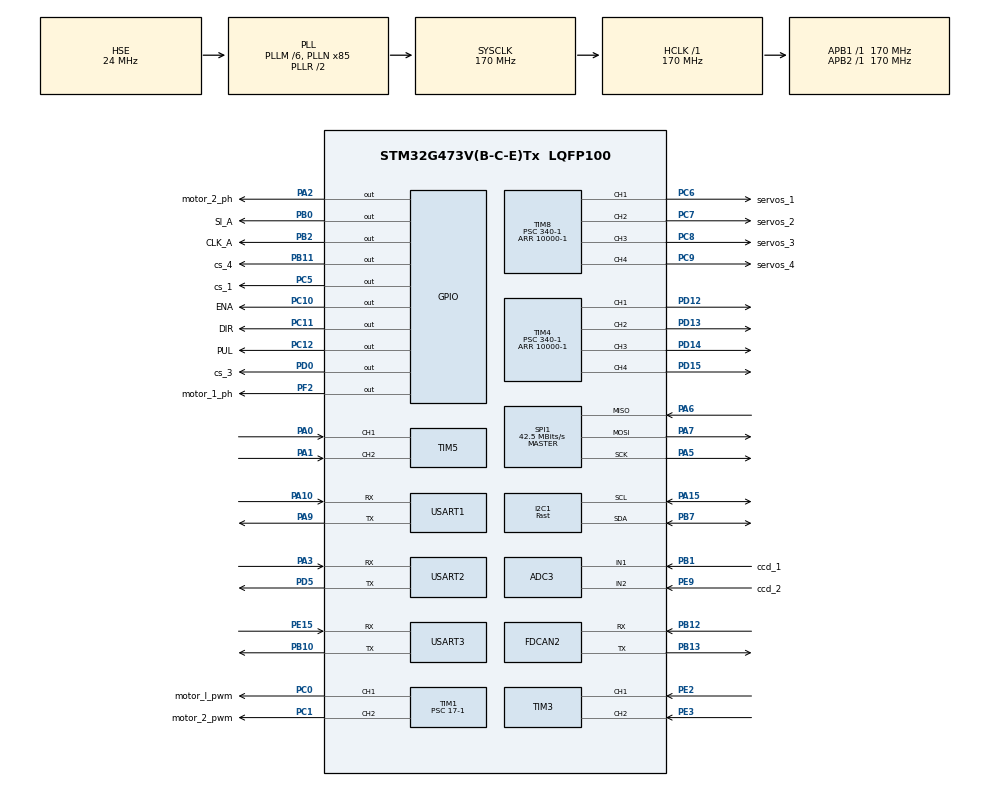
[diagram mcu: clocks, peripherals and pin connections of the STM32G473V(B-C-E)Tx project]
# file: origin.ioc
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ADC3.Channel-1\#ChannelRegularConversion=ADC_CHANNEL_1
ADC3.NbrOfConversionFlag=1
ADC3.OffsetNumber-1\#ChannelRegularConversion=ADC_OFFSET_NONE
ADC3.Rank-1\#ChannelRegularConversion=1
ADC3.SamplingTime-1\#ChannelRegularConversion=ADC_SAMPLETIME_2CYCLES_5
ADC3.master=1
Dma.ADC3.0.Direction=DMA_PERIPH_TO_MEMORY
Dma.ADC3.0.EventEnable=DISABLE
Dma.ADC3.0.Instance=DMA1_Channel1
Dma.ADC3.0.MemDataAlignment=DMA_MDATAALIGN_HALFWORD
Dma.ADC3.0.MemInc=DMA_MINC_ENABLE
Dma.ADC3.0.Mode=DMA_NORMAL
Dma.ADC3.0.PeriphDataAlignment=DMA_PDATAALIGN_HALFWORD
Dma.ADC3.0.PeriphInc=DMA_PINC_DISABLE
Dma.ADC3.0.Polarity=HAL_DMAMUX_REQ_GEN_RISING
Dma.ADC3.0.Priority=DMA_PRIORITY_LOW
Dma.ADC3.0.RequestNumber=1
Dma.ADC3.0.SignalID=NONE
Dma.ADC3.0.SyncEnable=DISABLE
Dma.ADC3.0.SyncPolarity=HAL_DMAMUX_SYNC_NO_EVENT
Dma.ADC3.0.SyncRequestNumber=1
Dma.ADC3.0.SyncSignalID=NONE
Dma.Request0=ADC3
FDCAN2.CalculateBaudRateNominal=3541666
FDCAN2.CalculateTimeBitNominal=282
FDCAN2.CalculateTimeQuantumNominal=94.11764705882354
I2C1.I2C_Speed_Mode=I2C_Fast
I2C1.Timing=0x40621236
Mcu.Family=STM32G4
Mcu.Name=STM32G473V(B-C-E)Tx
Mcu.Package=LQFP100
NVIC.DMA1_Channel1_IRQn=true\:0\:0\:false\:false\:true\:false\:true\:true
NVIC.PriorityGroup=NVIC_PRIORITYGROUP_4
NVIC.TIM2_IRQn=true\:0\:0\:false\:false\:true\:true\:true\:true
NVIC.TIM6_DAC_IRQn=true\:0\:0\:false\:false\:true\:true\:true\:true
NVIC.USART3_IRQn=true\:0\:0\:false\:false\:true\:true\:true\:true
PA0.Signal=S_TIM5_CH1
PA1.Signal=S_TIM5_CH2
PA10.Mode=Asynchronous
PA10.Signal=USART1_RX
PA11.Signal=FDCAN1_RX
PA12.Signal=FDCAN1_TX
PA13.Mode=Serial_Wire
PA13.Signal=SYS_JTMS-SWDIO
PA14.Mode=Serial_Wire
PA14.Signal=SYS_JTCK-SWCLK
PA15.GPIO_Pu=GPIO_NOPULL
PA15.GPIO_Speed=GPIO_SPEED_FREQ_HIGH
PA15.Mode=I2C
PA15.Signal=I2C1_SCL
PA2.GPIO_Label=motor_2_ph
PA2.Signal=GPIO_Output
PA3.Mode=Asynchronous
PA3.Signal=USART2_RX
PA4.Signal=I2S3_WS
PA5.Mode=Full_Duplex_Master
PA5.Signal=SPI1_SCK
PA6.Mode=Full_Duplex_Master
PA6.Signal=SPI1_MISO
PA7.Mode=Full_Duplex_Master
PA7.Signal=SPI1_MOSI
PA8.Signal=I2C2_SDA
PA9.Mode=Asynchronous
PA9.Signal=USART1_TX
PB0.GPIO_Label=SI_A
PB0.GPIO_Speed=GPIO_SPEED_FREQ_VERY_HIGH
PB0.Signal=GPIO_Output
PB1.GPIO_Label=ccd_1
PB1.Mode=IN1-Single-Ended
PB1.Signal=ADC3_IN1
PB10.Mode=Asynchronous
PB10.Signal=USART3_TX
PB11.GPIO_Label=cs_4
PB11.Signal=GPIO_Output
PB12.Mode=FDCAN_Activate
PB12.Signal=FDCAN2_RX
PB13.Mode=FDCAN_Activate
PB13.Signal=FDCAN2_TX
PB2.GPIO_Label=CLK_A
PB2.Signal=GPIO_Output
PB3.Signal=I2S3_CK
PB5.Signal=I2S3_SD
PB6.Signal=SAI1_FS_B
PB7.GPIO_FM7=SYSCFG_FASTMODEPLUS_PB7
PB7.GPIO_Speed=GPIO_SPEED_FREQ_HIGH
PB7.Mode=I2C
PB7.Signal=I2C1_SDA
PC0.GPIO_Label=motor_l_pwm
PC0.Signal=S_TIM1_CH1
PC1.GPIO_Label=motor_2_pwm
PC1.Signal=S_TIM1_CH2
PC10.GPIO_Label=ENA
PC10.Signal=GPIO_Output
PC11.GPIO_Label=DIR
PC11.Signal=GPIO_Output
PC12.GPIO_Label=PUL
PC12.Signal=GPIO_Output
PC2.Signal=S_TIM1_CH3
PC3.Signal=S_TIM1_CH4
PC4.Signal=I2C2_SCL
PC5.GPIO_Label=cs_1
PC5.Signal=GPIO_Output
PC6.GPIO_Label=servos_1
PC6.Signal=S_TIM8_CH1
PC7.GPIO_Label=servos_2
PC7.Signal=S_TIM8_CH2
PC8.GPIO_Label=servos_3
PC8.Signal=S_TIM8_CH3
PC9.GPIO_Label=servos_4
PC9.Signal=S_TIM8_CH4
PD0.GPIO_Label=cs_3
PD0.Signal=GPIO_Output
PD12.Signal=S_TIM4_CH1
PD13.Signal=S_TIM4_CH2
PD14.Signal=S_TIM4_CH3
PD15.Signal=S_TIM4_CH4
PD5.Mode=Asynchronous
PD5.Signal=USART2_TX
PE10.Signal=ADC4_IN14
PE11.Signal=ADC4_IN15
PE12.Signal=SPI4_SCK
PE13.Signal=SPI4_MISO
PE14.Signal=SPI4_MOSI
PE15.Mode=Asynchronous
PE15.Signal=USART3_RX
PE2.Signal=S_TIM3_CH1
PE3.Signal=S_TIM3_CH2
PE4.Signal=SAI1_FS_A
PE5.Signal=SAI1_SCK_A
PE6.Signal=SAI1_SD_A
PE7.Signal=SAI1_SD_B
PE8.Signal=SAI1_SCK_B
PE9.GPIO_Label=ccd_2
PE9.Mode=IN2-Single-Ended
PE9.Signal=ADC3_IN2
PF0-OSC_IN.Mode=HSE-External-Oscillator
PF0-OSC_IN.Signal=RCC_OSC_IN
PF1-OSC_OUT.Mode=HSE-External-Oscillator
PF1-OSC_OUT.Signal=RCC_OSC_OUT
PF2.GPIO_Label=motor_1_ph
PF2.GPIO_Speed=GPIO_SPEED_FREQ_HIGH
PF2.Signal=GPIO_Output
ProjectManager.HeapSize=0x200
ProjectManager.StackSize=0x400
ProjectManager.TargetToolchain=MDK-ARM V5.32
RCC.ADC12Freq_Value=170000000
RCC.ADC345Freq_Value=170000000
RCC.AHBFreq_Value=170000000
RCC.APB1Freq_Value=170000000
RCC.APB1TimFreq_Value=170000000
RCC.APB2Freq_Value=170000000
RCC.APB2TimFreq_Value=170000000
RCC.CortexFreq_Value=170000000
RCC.EXTERNAL_CLOCK_VALUE=12288000
RCC.HCLKFreq_Value=170000000
RCC.HSE_VALUE=24000000
RCC.HSI48_VALUE=48000000
RCC.HSI_VALUE=16000000
RCC.LSE_VALUE=32768
RCC.PLLM=RCC_PLLM_DIV6
RCC.PLLN=85
RCC.PLLSourceVirtual=RCC_PLLSOURCE_HSE
RCC.SYSCLKFreq_VALUE=170000000
RCC.SYSCLKSource=RCC_SYSCLKSOURCE_PLLCLK
RCC.USBFreq_Value=170000000
RCC.VCOOutputFreq_Value=340000000
SH.S_TIM1_CH1.0=TIM1_CH1,PWM Generation1 CH1
SH.S_TIM1_CH2.0=TIM1_CH2,PWM Generation2 CH2
SH.S_TIM1_CH3.0=TIM1_CH3
SH.S_TIM1_CH4.0=TIM1_CH4
SH.S_TIM3_CH1.0=TIM3_CH1,Encoder_Interface
SH.S_TIM3_CH2.0=TIM3_CH2,Encoder_Interface
SH.S_TIM4_CH1.0=TIM4_CH1,PWM Generation1 CH1
SH.S_TIM4_CH2.0=TIM4_CH2,PWM Generation2 CH2
SH.S_TIM4_CH3.0=TIM4_CH3,PWM Generation3 CH3
SH.S_TIM4_CH4.0=TIM4_CH4,PWM Generation4 CH4
SH.S_TIM5_CH1.0=TIM5_CH1,Encoder_Interface
SH.S_TIM5_CH2.0=TIM5_CH2,Encoder_Interface
SH.S_TIM8_CH1.0=TIM8_CH1,PWM Generation1 CH1
SH.S_TIM8_CH2.0=TIM8_CH2,PWM Generation2 CH2
SH.S_TIM8_CH3.0=TIM8_CH3,PWM Generation3 CH3
SH.S_TIM8_CH4.0=TIM8_CH4,PWM Generation4 CH4
SPI1.BaudRatePrescaler=SPI_BAUDRATEPRESCALER_4
SPI1.CalculateBaudRate=42.5 MBits/s
SPI1.Direction=SPI_DIRECTION_2LINES
SPI1.Mode=SPI_MODE_MASTER
SPI1.VirtualType=VM_MASTER
TIM1.AutoReloadPreload=TIM_AUTORELOAD_PRELOAD_ENABLE
TIM1.Channel-PWM\ Generation1\ CH1=TIM_CHANNEL_1
TIM1.Channel-PWM\ Generation2\ CH2=TIM_CHANNEL_2
TIM1.PeriodNoDither=1000-1
TIM1.Prescaler=17-1
TIM2.AutoReloadPreload=TIM_AUTORELOAD_PRELOAD_ENABLE
TIM2.PeriodNoDither=5000-1
TIM2.Prescaler=170-1
TIM4.Channel-PWM\ Generation1\ CH1=TIM_CHANNEL_1
TIM4.Channel-PWM\ Generation2\ CH2=TIM_CHANNEL_2
TIM4.Channel-PWM\ Generation3\ CH3=TIM_CHANNEL_3
TIM4.Channel-PWM\ Generation4\ CH4=TIM_CHANNEL_4
TIM4.PeriodNoDither=10000-1
TIM4.Prescaler=340-1
TIM6.PeriodNoDither=17000-1
TIM6.Prescaler=50-1
TIM8.Channel-PWM\ Generation1\ CH1=TIM_CHANNEL_1
TIM8.Channel-PWM\ Generation2\ CH2=TIM_CHANNEL_2
TIM8.Channel-PWM\ Generation3\ CH3=TIM_CHANNEL_3
TIM8.Channel-PWM\ Generation4\ CH4=TIM_CHANNEL_4
TIM8.PeriodNoDither=10000-1
TIM8.Prescaler=340-1
USART1.VirtualMode-Asynchronous=VM_ASYNC
USART2.VirtualMode-Asynchronous=VM_ASYNC
USART3.VirtualMode-Asynchronous=VM_ASYNC
VP_SYS_VS_DBSignals.Mode=DisableDeadBatterySignals
VP_TIM1_VS_ClockSourceINT.Mode=Internal
VP_TIM2_VS_ClockSourceINT.Mode=Internal
VP_TIM4_VS_ClockSourceINT.Mode=Internal
VP_TIM6_VS_ClockSourceINT.Mode=Enable_Timer
VP_TIM8_VS_ClockSourceINT.Mode=Internal
board=custom

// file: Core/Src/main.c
/* USER CODE BEGIN Header */
/**
  ******************************************************************************
  * @file           : main.c
  * @brief          : Main program body
  ******************************************************************************
  * @attention
  *
  * Copyright (c) 2025 STMicroelectronics.
  * All rights reserved.
  *
  * This software is licensed under terms that can be found in the LICENSE file
  * in the root directory of this software component.
  * If no LICENSE file comes with this software, it is provided AS-IS.
  *
  ******************************************************************************
  */
/* USER CODE END Header */
#include "main.h"
#include "adc.h"
#include "dma.h"
#include "fdcan.h"
#include "i2c.h"
#include "spi.h"
#include "tim.h"
#include "usart.h"
#include "gpio.h"

/* USER CODE BEGIN PV */
uint16_t ccd_rawdata[1546]; // 储存CCD接收的原始数
uint16_t ccd_data[128];     // 储存平均后的CCD数据
	 uint32_t icg_flag;

	 uint8_t  ir_x[8] ;
/* USER CODE END PV */

void SystemClock_Config(void);

/* USER CODE BEGIN 0 */
 void delay_us(uint32_t us)
{
    uint32_t delay = (HAL_RCC_GetHCLKFreq() / 4000000 * us);
    while (delay--)
    {
        __NOP(); //防止编译器优化
    }
}

 void HAL_TIM_PeriodElapsedCallback(TIM_HandleTypeDef *htim)
{
  if (htim->Instance == htim6.Instance)
    {

    }

}
/* USER CODE END 0 */

int main(void)
{

  /* MCU Configuration--------------------------------------------------------*/

  /* Reset of all peripherals, Initializes the Flash interface and the Systick. */
  HAL_Init();

  /* Configure the system clock */
  SystemClock_Config();

  /* Initialize all configured peripherals */
  MX_GPIO_Init();
  MX_DMA_Init();
  MX_TIM1_Init();
  MX_USART1_UART_Init();
  MX_USART3_UART_Init();
  MX_TIM2_Init();
  MX_TIM3_Init();
  MX_TIM5_Init();
  MX_SPI1_Init();
  MX_TIM8_Init();
  MX_TIM4_Init();
  MX_USART2_UART_Init();
  MX_I2C1_Init();
  MX_ADC3_Init();
  MX_TIM6_Init();
  MX_FDCAN2_Init();
  /* USER CODE BEGIN 2 */
	//tim1是给两个普通直流电机的，tim3是编码器1，tim5是编码器2，tim2只用于普通定时（利用中断）
	//tim6是给ccd用，tim8和tim4是用于输出pwm  配置：340-1，10000-1
//  中断开启
HAL_TIM_Base_Start_IT(&htim2);
HAL_TIM_Base_Start_IT(&htim6);
//
HAL_TIM_PWM_Start(&htim1,TIM_CHANNEL_1);
HAL_TIM_PWM_Start(&htim1,TIM_CHANNEL_2);
HAL_TIM_Encoder_Start(&htim3,TIM_CHANNEL_ALL);
HAL_TIM_Encoder_Start(&htim5,TIM_CHANNEL_ALL);
//舵机
 HAL_TIM_PWM_Start(&htim8,TIM_CHANNEL_4);
HAL_TIM_PWM_Start(&htim8,TIM_CHANNEL_3);
 HAL_TIM_PWM_Start(&htim8,TIM_CHANNEL_2);
HAL_TIM_PWM_Start(&htim8,TIM_CHANNEL_1);
 HAL_TIM_PWM_Start(&htim4,TIM_CHANNEL_4);
HAL_TIM_PWM_Start(&htim4,TIM_CHANNEL_3);
 HAL_TIM_PWM_Start(&htim4,TIM_CHANNEL_2);
HAL_TIM_PWM_Start(&htim4,TIM_CHANNEL_1);
//灰度配置
//  set_adjust_mode(1);
//  HAL_Delay(500);
//
//  set_adjust_mode(0);
//  HAL_Delay(500);

 //tcs230配置
  HAL_UART_Receive_IT(&huart3, &RxData, 1);

  printf("AT+LIGHT+ON\r\n");
  printf("AT+LIGHT+ON\r\n");
  printf("AT+LIGHT+ON\r\n");
  printf("AT+LIGHT+ON\r\n");
  printf("AT+LIGHT+ON\r\n");
  printf("AT+LIGHT+ON\r\n");
	//普通电机配置
	   speed_left = 0;
  speed_right = 0;
  speed_all = 0;

	PID_struct_init(&pid_left, POSITION_PID, 950, 950, 50, 0, 0);
  PID_struct_init(&pid_right, POSITION_PID, 950, 950, 50, 0, 0);

  set_adjust_mode(1);
  HAL_Delay(500);

  set_adjust_mode(0);
  HAL_Delay(500);

  /* USER CODE END 2 */

  /* Infinite loop */
  while (1)
  {

    /* USER CODE BEGIN 3 */
		__HAL_TIM_SET_COMPARE(&htim4,TIM_CHANNEL_1,500);
//		deal_IRdata(&ir_x[0],&ir_x[1],&ir_x[2],&ir_x[3],&ir_x[4],&ir_x[5],&ir_x[6],&ir_x[7]);
		  HAL_Delay(300);
  }
  /* USER CODE END 3 */
}

void SystemClock_Config(void)
{
  RCC_OscInitTypeDef RCC_OscInitStruct = {0};
  RCC_ClkInitTypeDef RCC_ClkInitStruct = {0};

  /** Configure the main internal regulator output voltage
  */
  HAL_PWREx_ControlVoltageScaling(PWR_REGULATOR_VOLTAGE_SCALE1_BOOST);

  /** Initializes the RCC Oscillators according to the specified parameters
  * in the RCC_OscInitTypeDef structure.
  */
  RCC_OscInitStruct.OscillatorType = RCC_OSCILLATORTYPE_HSE;
  RCC_OscInitStruct.HSEState = RCC_HSE_ON;
  RCC_OscInitStruct.PLL.PLLState = RCC_PLL_ON;
  RCC_OscInitStruct.PLL.PLLSource = RCC_PLLSOURCE_HSE;
  RCC_OscInitStruct.PLL.PLLM = RCC_PLLM_DIV6;
  RCC_OscInitStruct.PLL.PLLN = 85;
  RCC_OscInitStruct.PLL.PLLP = RCC_PLLP_DIV2;
  RCC_OscInitStruct.PLL.PLLQ = RCC_PLLQ_DIV2;
  RCC_OscInitStruct.PLL.PLLR = RCC_PLLR_DIV2;
  if (HAL_RCC_OscConfig(&RCC_OscInitStruct) != HAL_OK)
  {
    Error_Handler();
  }

  /** Initializes the CPU, AHB and APB buses clocks
  */
  RCC_ClkInitStruct.ClockType = RCC_CLOCKTYPE_HCLK|RCC_CLOCKTYPE_SYSCLK
                              |RCC_CLOCKTYPE_PCLK1|RCC_CLOCKTYPE_PCLK2;
  RCC_ClkInitStruct.SYSCLKSource = RCC_SYSCLKSOURCE_PLLCLK;
  RCC_ClkInitStruct.AHBCLKDivider = RCC_SYSCLK_DIV1;
  RCC_ClkInitStruct.APB1CLKDivider = RCC_HCLK_DIV1;
  RCC_ClkInitStruct.APB2CLKDivider = RCC_HCLK_DIV1;

  if (HAL_RCC_ClockConfig(&RCC_ClkInitStruct, FLASH_LATENCY_4) != HAL_OK)
  {
    Error_Handler();
  }
}

void Error_Handler(void)
{
  __disable_irq();
  while (1)
  {
  }
}
